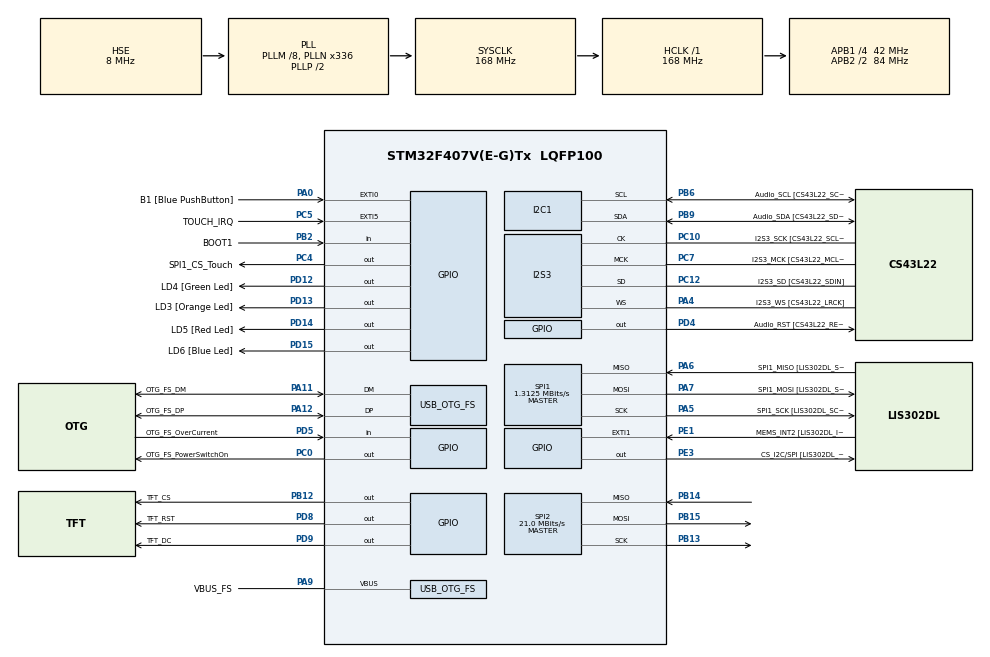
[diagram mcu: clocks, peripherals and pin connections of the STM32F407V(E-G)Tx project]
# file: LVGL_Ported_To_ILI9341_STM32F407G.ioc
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PA11.GPIO_Speed=GPIO_SPEED_FREQ_LOW
PD12.GPIO_Label=LD4 [Green Led]
PH0-OSC_IN.Signal=RCC_OSC_IN
PC10.GPIO_PuPd=GPIO_NOPULL
FATFS._USE_LFN=1
SPI1.VirtualType=VM_MASTER
PB10.GPIO_PuPd=GPIO_NOPULL
SPI2.VirtualType=VM_MASTER
PA10.GPIO_PuPd=GPIO_NOPULL
PC12.Signal=I2S3_SD
PA14.GPIO_Label=SWCLK
PA6.GPIO_Label=SPI1_MISO [LIS302DL_SDO]
PB6.GPIO_Label=Audio_SCL [CS43L22_SCL]
PB13.Signal=SPI2_SCK
PC15-OSC32_OUT.GPIO_Label=PC15-OSC32_OUT
Dma.SPI2_TX.0.Instance=DMA1_Stream4
PC3.GPIO_Speed=GPIO_SPEED_FREQ_LOW
RCC.SYSCLKSource=RCC_SYSCLKSOURCE_PLLCLK
PA6.GPIO_Mode=GPIO_MODE_AF_PP
PD14.GPIO_Speed=GPIO_SPEED_FREQ_LOW
PA4.Mode=Half_Duplex_Master
SPI1.Direction=SPI_DIRECTION_2LINES
I2S3.AudioFreq-Half_Duplex_Master=I2S_AUDIOFREQ_96K
PD4.Signal=GPIO_Output
RCC.APB2TimFreq_Value=168000000
PB6.Signal=I2C1_SCL
PC7.Signal=I2S3_MCK
PB6.Mode=I2C
SPI1.CalculateBaudRate=1.3125 MBits/s
PC3.Signal=I2S2_SD
PD8.Signal=GPIO_Output
PE1.Signal=GPXTI1
USB_OTG_FS.phy_itface=HCD_PHY_EMBEDDED
PB2.Signal=GPIO_Input
PB12.GPIO_Label=TFT_CS
I2S3.ErrorAudioFreq=-2.34 %
PC4.GPIO_Label=SPI1_CS_Touch
PB14.Mode=Full_Duplex_Master
PA5.GPIO_PuPd=GPIO_NOPULL
I2S3.ErrorAudioFreq-Half_Duplex_Master=0.8 %
SPI2.CalculateBaudRate=21.0 MBits/s
PD5.GPIO_Mode=GPIO_MODE_INPUT
PD14.GPIO_PuPd=GPIO_NOPULL
PB2.GPIO_PuPd=GPIO_NOPULL
SPI1.CalculateBaudRate-Full_Duplex_Master=42.0 MBits/s
Mcu.Package=LQFP100
PB9.Signal=I2C1_SDA
SPI2.Mode=SPI_MODE_MASTER
PD12.Signal=GPIO_Output
PA10.Signal=USB_OTG_FS_ID
PB9.GPIO_PuPd=GPIO_NOPULL
Dma.SPI2_TX.0.PeriphInc=DMA_PINC_DISABLE
RCC.APB2CLKDivider=RCC_HCLK_DIV2
RCC.APB1TimFreq_Value=84000000
PB13.Mode=Full_Duplex_Master
PC12.GPIO_PuPd=GPIO_NOPULL
PA6.GPIO_Speed=GPIO_SPEED_FREQ_LOW
PA12.GPIO_PuPd=GPIO_NOPULL
VP_LIBJPEG_VS_JPEGLIB.Mode=Enabled
PA4.GPIO_Label=I2S3_WS [CS43L22_LRCK]
PD15.Signal=GPIO_Output
PC0.PinState=GPIO_PIN_SET
PA5.Mode=Full_Duplex_Master
I2S3.FullDuplexMode=I2S_FULLDUPLEXMODE_DISABLE
PD9.GPIO_Label=TFT_DC
PC4.PinState=GPIO_PIN_SET
PA9.GPIO_Label=VBUS_FS
PB6.GPIO_PuPd=GPIO_NOPULL
VP_USB_HOST_VS_USB_HOST_MSC_FS.Mode=MSC_FS
PA11.GPIO_Label=OTG_FS_DM
PE1.GPIO_PuPd=GPIO_NOPULL
PC0.Signal=GPIO_Output
RCC.APB1CLKDivider=RCC_HCLK_DIV4
PC14-OSC32_IN.Signal=RCC_OSC32_IN
USB_HOST.USBH_HandleTypeDef-MSC_FS=hUsbHostFS
PA0-WKUP.GPIO_ModeDefaultEXTI=GPIO_MODE_EVT_RISING
PA0-WKUP.GPIO_Label=B1 [Blue PushButton]
PA0-WKUP.Signal=GPXTI0
USB_HOST0.BSP.STBoard=false
PC10.GPIO_Mode=GPIO_MODE_AF_PP
PB10.GPIO_Mode=GPIO_MODE_AF_PP
PA9.Signal=USB_OTG_FS_VBUS
I2S3.VirtualMode=I2S_MODE_MASTER
PC7.GPIO_PuPd=GPIO_NOPULL
PC5.GPIO_ModeDefaultEXTI=GPIO_MODE_IT_FALLING
PB10.Signal=I2S2_CK
PB14.Signal=SPI2_MISO
PA5.Signal=SPI1_SCK
PC12.Mode=Half_Duplex_Master
PE1.GPIO_Label=MEMS_INT2 [LIS302DL_INT2]
USB_HOST.VirtualModeFS=Msc
PA7.GPIO_Speed=GPIO_SPEED_FREQ_LOW
PB2.GPIO_Mode=GPIO_MODE_INPUT
SPI1.Mode=SPI_MODE_MASTER
PD4.GPIO_Speed=GPIO_SPEED_FREQ_LOW
PE3.GPIO_PuPd=GPIO_NOPULL
PH1-OSC_OUT.GPIO_Label=PH1-OSC_OUT
FATFS._USE_FIND=1
PA13.Mode=Serial_Wire
Dma.SPI2_TX.0.FIFOMode=DMA_FIFOMODE_DISABLE
PC7.GPIO_Label=I2S3_MCK [CS43L22_MCLK]
PA4.Signal=I2S3_WS
PC12.GPIO_Mode=GPIO_MODE_AF_PP
PA5.GPIO_Label=SPI1_SCK [LIS302DL_SCL/SPC]
PE3.GPIO_Speed=GPIO_SPEED_FREQ_LOW
PC12.GPIO_Label=I2S3_SD [CS43L22_SDIN]
PA11.Signal=USB_OTG_FS_DM
ProjectManager.HeapSize=0x1000
NVIC.PriorityGroup=NVIC_PRIORITYGROUP_0
PE3.Signal=GPIO_Output
PC3.GPIO_Label=PDM_OUT [MP45DT02_DOUT]
PA0-WKUP.GPIO_PuPd=GPIO_NOPULL
I2S3.Instance=SPI$Index
PB6.GPIO_Speed=GPIO_SPEED_FREQ_LOW
SPI1.BaudRatePrescaler-Full_Duplex_Master=SPI_BAUDRATEPRESCALER_2
USB_HOST0.BSP.mode=Output
Mcu.Family=STM32F4
PC3.GPIO_Mode=GPIO_MODE_AF_PP
PA6.Mode=Full_Duplex_Master
Dma.SPI2_TX.0.MemInc=DMA_MINC_ENABLE
RCC.CortexFreq_Value=168000000
PB10.GPIO_Speed=GPIO_SPEED_FREQ_LOW
PB6.GPIO_Mode=GPIO_MODE_AF_OD
PD15.GPIO_Speed=GPIO_SPEED_FREQ_LOW
PC10.Signal=I2S3_CK
PA7.GPIO_Mode=GPIO_MODE_AF_PP
PC0.GPIO_Label=OTG_FS_PowerSwitchOn
PA11.Mode=Host_Only
PC10.GPIO_Speed=GPIO_SPEED_FREQ_LOW
PA11.GPIO_PuPd=GPIO_NOPULL
NVIC.DMA1_Stream4_IRQn=true\:0\:0\:false\:true\:true\:2\:false\:true
PB15.Signal=SPI2_MOSI
ProjectManager.StackSize=0x1000
SPI1.Mode-Full_Duplex_Master=SPI_MODE_MASTER
Dma.SPI2_TX.0.MemDataAlignment=DMA_MDATAALIGN_HALFWORD
PD13.Signal=GPIO_Output
PA12.Signal=USB_OTG_FS_DP
RCC.HCLKFreq_Value=168000000
Dma.SPI2_TX.0.Mode=DMA_NORMAL
USB_HOST0.BSP.ip=GPIO
RCC.AHBFreq_Value=168000000
SPI2.BaudRatePrescaler=SPI_BAUDRATEPRESCALER_2
PH0-OSC_IN.Mode=HSE-External-Oscillator
PE3.PinState=GPIO_PIN_SET
PH0-OSC_IN.GPIO_Label=PH0-OSC_IN
PA9.GPIO_Mode=GPIO_MODE_INPUT
RCC.HSE_VALUE=8000000
PA4.GPIO_PuPd=GPIO_NOPULL
PA4.GPIO_Speed=GPIO_SPEED_FREQ_LOW
PA6.GPIO_PuPd=GPIO_NOPULL
PC14-OSC32_IN.Mode=LSE-External-Oscillator
PA14.Mode=Serial_Wire
PA10.GPIO_Label=OTG_FS_ID
PC7.GPIO_Mode=GPIO_MODE_AF_PP
USB_HOST0.BSP.i2creg=0
PH1-OSC_OUT.Mode=HSE-External-Oscillator
USB_HOST0.BSP.i2caddr=0
PD13.GPIO_Label=LD3 [Orange Led]
PA6.Signal=SPI1_MISO
PD5.GPIO_Label=OTG_FS_OverCurrent
NVIC.OTG_FS_IRQn=true\:0\:0\:false\:false\:true\:true\:true
PD15.GPIO_PuPd=GPIO_NOPULL
USB_OTG_FS.VirtualMode=Host_Only
PA10.GPIO_Speed=GPIO_SPEED_FREQ_LOW
USB_HOST0.BSP.name=Drive_VBUS_FS
PB9.GPIO_Speed=GPIO_SPEED_FREQ_LOW
PC14-OSC32_IN.GPIO_Label=PC14-OSC32_IN
SPI2.Direction=SPI_DIRECTION_2LINES
PC5.Signal=GPXTI5
PC0.GPIO_PuPd=GPIO_NOPULL
Dma.Request0=SPI2_TX
SPI1.BaudRatePrescaler=SPI_BAUDRATEPRESCALER_64
PA12.GPIO_Speed=GPIO_SPEED_FREQ_LOW
PB3.GPIO_Label=SWO
PC15-OSC32_OUT.Mode=LSE-External-Oscillator
PD12.GPIO_Speed=GPIO_SPEED_FREQ_LOW
PD15.GPIO_Label=LD6 [Blue Led]
PA7.Mode=Full_Duplex_Master
PB9.GPIO_Label=Audio_SDA [CS43L22_SDA]
PC10.GPIO_Label=I2S3_SCK [CS43L22_SCLK]
USB_HOST0.BSP.solution=PC0
PC4.Signal=GPIO_Output
PC10.Mode=Half_Duplex_Master
USB_HOST.BSP.number=1
PD9.Signal=GPIO_Output
PD5.Signal=GPIO_Input
PE1.GPIO_ModeDefaultEXTI=GPIO_MODE_EVT_RISING
PA9.GPIO_PuPd=GPIO_NOPULL
PA12.GPIO_Label=OTG_FS_DP
PD8.GPIO_Label=TFT_RST
PA10.GPIO_Mode=GPIO_MODE_AF_PP
PA13.Signal=SYS_JTMS-SWDIO
PD4.GPIO_PuPd=GPIO_NOPULL
PA9.Mode=Activate_VBUS
PC0.GPIO_Speed=GPIO_SPEED_FREQ_LOW
I2S3.RealAudioFreq-Half_Duplex_Master=96.774 KHz
ProjectManager.TargetToolchain=STM32CubeIDE
PB10.GPIO_Label=CLK_IN [MP45DT02_CLK]
PB9.Mode=I2C
PC15-OSC32_OUT.Signal=RCC_OSC32_OUT
PA7.GPIO_PuPd=GPIO_NOPULL
board=STM32F407G-DISC1
PD13.GPIO_Speed=GPIO_SPEED_FREQ_LOW
PC7.GPIO_Speed=GPIO_SPEED_FREQ_LOW
RCC.VCOOutputFreq_Value=336000000
PB15.Mode=Full_Duplex_Master
PB9.GPIO_Mode=GPIO_MODE_AF_OD
PA12.GPIO_Mode=GPIO_MODE_AF_PP
PA4.GPIO_Mode=GPIO_MODE_AF_PP
RCC.APB2Freq_Value=84000000
USB_HOST0.BSP.api=Unknown
PD4.GPIO_Label=Audio_RST [CS43L22_RESET]
Dma.SPI2_TX.0.PeriphDataAlignment=DMA_PDATAALIGN_HALFWORD
PH1-OSC_OUT.Signal=RCC_OSC_OUT
PD13.GPIO_PuPd=GPIO_NOPULL
PD5.GPIO_PuPd=GPIO_NOPULL
PD14.GPIO_Label=LD5 [Red Led]
Mcu.Name=STM32F407V(E-G)Tx
PA13.GPIO_Label=SWDIO
PD14.Signal=GPIO_Output
RCC.48MHZClocksFreq_Value=48000000
PB3.Signal=SYS_JTDO-SWO
Dma.SPI2_TX.0.Priority=DMA_PRIORITY_LOW
RCC.SYSCLKFreq_VALUE=168000000
PA7.GPIO_Label=SPI1_MOSI [LIS302DL_SDA/SDI/SDO]
PA12.Mode=Host_Only
PC5.GPIO_Label=TOUCH_IRQ
NVIC.EXTI9_5_IRQn=true\:0\:0\:false\:true\:true\:1\:true\:true
PA14.Signal=SYS_JTCK-SWCLK
PB2.GPIO_Label=BOOT1
VP_FATFS_VS_USB.Mode=USB
RCC.HSI_VALUE=16000000
PA5.GPIO_Speed=GPIO_SPEED_FREQ_LOW
RCC.PLLQ=7
I2S3.RealAudioFreq=93.75 KHz
RCC.PLLM=8
RCC.PLLN=336
PE3.GPIO_Label=CS_I2C/SPI [LIS302DL_CS_I2C/SPI]
PC7.Mode=Master_Clock_Activated
PA11.GPIO_Mode=GPIO_MODE_AF_PP
Dma.SPI2_TX.0.Direction=DMA_MEMORY_TO_PERIPH
RCC.APB1Freq_Value=42000000
PA5.GPIO_Mode=GPIO_MODE_AF_PP
PC12.GPIO_Speed=GPIO_SPEED_FREQ_LOW
PB12.Signal=GPIO_Output
PC3.GPIO_PuPd=GPIO_NOPULL
PD12.GPIO_PuPd=GPIO_NOPULL
PA7.Signal=SPI1_MOSI
USB_HOST0.BSP.instance=PC0

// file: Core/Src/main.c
/* USER CODE BEGIN Header */
/*----------------------------------------------------------------------------
 *       Simple Discovery Board - STM32F407G Demo, using littleVgl:                             *
 *                                         *
 *       LittleVgl V8.0                            *
 *       LL (STM32 Low Level Drivers).              *
 *       ILI9341 display over SPI with DMA,                                  *
 *       XPT2046 resistive touch panel                                       *
 *                                                                           *
 *       ILI9341 SPI1 CONNECTIONS:                                           *
 *       -------------------------------                                     *
 *       TFT_RESET                   PD8                                     *
 *       TFT_DC                      PD9                                     *
 *       TFT_CS                      PB12                                    *
 *       TFT_SCK                     PB13                                    *
 *       TFT_MISO                    PB14                                    *
 *       TFT_MOSI                    PB15                                    *
 *                                                                           *
 *       XPT2046 SPI2 CONNECTIONS:                                           *
 *       --------------------------------                                    *
 *       TOUCH_CLK                   PA5                                     *
 *       TOUCH_DIN (MOSI)            PA7                                     *
 *       TOUCH_DO (MISO)             PA6                                     *
 *       TOUCH_CS                    PC4                                     *
 *       TOUCH_IRQ                   PC5                                     *
 *                                                                           *
 *
 *   CubeMX configuration:
 *   Start From Default PinOut to the board
 *
 *   PC0 and PC4, PE3 Default High
 *   NVIC->EXTILine 9:5 Interrupts ON
 *   SPI1 Clk Prescaler 64 other opt default
 *   SPI2 Clk Prescaler 2 , DMATX HalfWord Size Increment Memory other opt default
 *
 *   And PINS user label name as above (lines 12 - 27)
 *
 *   Add the folders to the compiler and much much more :/ dk what else
 *
 *
 *                                                                          *
 *                                                                           *
 *---------------------------------------------------------------------------*/

/**
  ******************************************************************************
  * @file           : main.c
  * @brief          : Main program body
  ******************************************************************************
  * @attention
  *
  * <h2><center>&copy; Copyright (c) 2021 STMicroelectronics.
  * All rights reserved.</center></h2>
  *
  * This software component is licensed by ST under Ultimate Liberty license
  * SLA0044, the "License"; You may not use this file except in compliance with
  * the License. You may obtain a copy of the License at:
  *                             www.st.com/SLA0044
  *
  ******************************************************************************
  */
/* USER CODE END Header */
#include "main.h"
#include "dma.h"
#include "fatfs.h"
#include "i2c.h"
#include "i2s.h"
#include "libjpeg.h"
#include "spi.h"
#include "usb_host.h"
#include "gpio.h"

/* USER CODE BEGIN Includes */
#include "../lvgl/lvgl.h"

#include "../XPT2064/XPT2064.h"
#include "../XPT2064/lv_drv.h"

#include "../ili9341/core.h"
#include "../ili9341/lv_driver.h"

#include "logo.h"

#include "../lvgl/examples/lv_examples.h"
//#include "misc/delay.h"
//#include "../demo/demo.h"

/* USER CODE END Includes */

void SystemClock_Config(void);
static void MX_NVIC_Init(void);
void MX_USB_HOST_Process(void);

/* USER CODE BEGIN 0 */
static lv_disp_draw_buf_t disp_buf;
 //The second buffer is optional*/

#define ILI_SCR_HORIZONTAL 320
#define ILI_SCR_VERTICAL   240
#define BUFFOR_SCR_ROWS 40

 static lv_color_t buf_1[ILI_SCR_HORIZONTAL * BUFFOR_SCR_ROWS] ;
 static lv_color_t buf_2[ILI_SCR_HORIZONTAL * BUFFOR_SCR_ROWS] ; //__attribute__ ((section (".LvBufferSection")))
 	 	 	 	 	 	 	 	 	 	 	 	 	 	 //DMA don't have acces to CCMRAM :(
 	 	 	 	 	 	 	 	 	 	 	 	 	 	 	 //I don't have so too much time on experiments
 static lv_disp_drv_t disp_drv;

/* USER CODE END 0 */

int main(void)
{

  /* MCU Configuration--------------------------------------------------------*/

  /* Reset of all peripherals, Initializes the Flash interface and the Systick. */
  HAL_Init();

  /* Configure the system clock */
  SystemClock_Config();

  /* Initialize all configured peripherals */
  MX_GPIO_Init();
  MX_DMA_Init();
  MX_I2C1_Init();
  MX_I2S3_Init();
  MX_SPI1_Init();
  MX_USB_HOST_Init();
  MX_SPI2_Init();
  MX_FATFS_Init();
  MX_LIBJPEG_Init();

  /* Initialize interrupts */
  MX_NVIC_Init();
  /* USER CODE BEGIN 2 */

  ILI9341_Init();
  XPT2046_Init(&hspi1, EXTI9_5_IRQn);
  HAL_Delay(30);

  	  lv_init();
  	  lv_disp_draw_buf_init(&disp_buf, buf_1, buf_2, ILI_SCR_HORIZONTAL * BUFFOR_SCR_ROWS);
  	  lv_disp_drv_init(&disp_drv);            /*Basic initialization*/
  	  disp_drv.draw_buf = &disp_buf;          /*Set an initialized buffer*/
  	  disp_drv.flush_cb = ILI9341_flush;        /*Set a flush callback to draw to the display*/
  	  disp_drv.hor_res = ILI_SCR_HORIZONTAL;                 /*Set the horizontal resolution in pixels*/
  	  disp_drv.ver_res = ILI_SCR_VERTICAL;                 /*Set the vertical resolution in pixels*/
    lv_disp_drv_register(&disp_drv); /*Register the driver and save the created display objects*/

    lv_indev_drv_t indev_drv;
    lv_indev_drv_init(&indev_drv);
    indev_drv.type =LV_INDEV_TYPE_POINTER;
    indev_drv.read_cb = lvXPT2064_Read;
    lv_indev_drv_register(&indev_drv);
  HAL_Delay(10);

  //lv_example_get_started_1();
  lv_example_textarea_2();
  //lv_example_win_1();
  //lv_example_animimg_1();
  //lv_example_flex_1();
  //lv_example_scroll_6();
  //lv_example_chart_7();
  //lv_example_btnmatrix_3();
  //lv_example_label_1(); //ciekawe przesuwanie tekstu!
  //lv_example_img_3();  //o to jest mocne :D sporo zasobów musi zrec

  uint32_t LedTim0;
  uint32_t lvglTime=0;
  /* USER CODE END 2 */

  /* Infinite loop */
  /* USER CODE BEGIN WHILE */
  while (1)
  {
	  if(HAL_GetTick()- LedTim0> 100)
	  {
		  LedTim0=HAL_GetTick();
	      HAL_GPIO_TogglePin(LD5_GPIO_Port, LD5_Pin);
	  }
	  if(HAL_GetTick()-lvglTime >= 5)
	  {
		  lvglTime=HAL_GetTick();
	      lv_task_handler();
	      lv_tick_inc(5);
	  }
	  XPT2046_Task();

    /* USER CODE END WHILE */
   // MX_USB_HOST_Process();
  }
}

void SystemClock_Config(void)
{
  RCC_OscInitTypeDef RCC_OscInitStruct = {0};
  RCC_ClkInitTypeDef RCC_ClkInitStruct = {0};
  RCC_PeriphCLKInitTypeDef PeriphClkInitStruct = {0};

  /** Configure the main internal regulator output voltage
  */
  __HAL_RCC_PWR_CLK_ENABLE();
  __HAL_PWR_VOLTAGESCALING_CONFIG(PWR_REGULATOR_VOLTAGE_SCALE1);
  /** Initializes the RCC Oscillators according to the specified parameters
  * in the RCC_OscInitTypeDef structure.
  */
  RCC_OscInitStruct.OscillatorType = RCC_OSCILLATORTYPE_HSE;
  RCC_OscInitStruct.HSEState = RCC_HSE_ON;
  RCC_OscInitStruct.PLL.PLLState = RCC_PLL_ON;
  RCC_OscInitStruct.PLL.PLLSource = RCC_PLLSOURCE_HSE;
  RCC_OscInitStruct.PLL.PLLM = 8;
  RCC_OscInitStruct.PLL.PLLN = 336;
  RCC_OscInitStruct.PLL.PLLP = RCC_PLLP_DIV2;
  RCC_OscInitStruct.PLL.PLLQ = 7;
  if (HAL_RCC_OscConfig(&RCC_OscInitStruct) != HAL_OK)
  {
    Error_Handler();
  }
  /** Initializes the CPU, AHB and APB buses clocks
  */
  RCC_ClkInitStruct.ClockType = RCC_CLOCKTYPE_HCLK|RCC_CLOCKTYPE_SYSCLK
                              |RCC_CLOCKTYPE_PCLK1|RCC_CLOCKTYPE_PCLK2;
  RCC_ClkInitStruct.SYSCLKSource = RCC_SYSCLKSOURCE_PLLCLK;
  RCC_ClkInitStruct.AHBCLKDivider = RCC_SYSCLK_DIV1;
  RCC_ClkInitStruct.APB1CLKDivider = RCC_HCLK_DIV4;
  RCC_ClkInitStruct.APB2CLKDivider = RCC_HCLK_DIV2;

  if (HAL_RCC_ClockConfig(&RCC_ClkInitStruct, FLASH_LATENCY_5) != HAL_OK)
  {
    Error_Handler();
  }
  PeriphClkInitStruct.PeriphClockSelection = RCC_PERIPHCLK_I2S;
  PeriphClkInitStruct.PLLI2S.PLLI2SN = 192;
  PeriphClkInitStruct.PLLI2S.PLLI2SR = 2;
  if (HAL_RCCEx_PeriphCLKConfig(&PeriphClkInitStruct) != HAL_OK)
  {
    Error_Handler();
  }
}

/**
  * @brief NVIC Configuration.
  * @retval None
  */
static void MX_NVIC_Init(void)
{
  /* EXTI9_5_IRQn interrupt configuration */
  HAL_NVIC_SetPriority(EXTI9_5_IRQn, 0, 0);
  HAL_NVIC_EnableIRQ(EXTI9_5_IRQn);
  /* DMA1_Stream4_IRQn interrupt configuration */
  NVIC_SetPriority(DMA1_Stream4_IRQn, NVIC_EncodePriority(NVIC_GetPriorityGrouping(),0, 0));
  NVIC_EnableIRQ(DMA1_Stream4_IRQn);
}

/* USER CODE BEGIN 4 */
void HAL_GPIO_EXTI_Callback(uint16_t GPIO_Pin)
{
	if(GPIO_Pin == TOUCH_IRQ_Pin)
	{
		XPT2046_IRQ();
	}
}
/* USER CODE END 4 */

void Error_Handler(void)
{
  __disable_irq();
  while (1)
  {
  }
}

/************************ (C) COPYRIGHT STMicroelectronics *****END OF FILE****/
